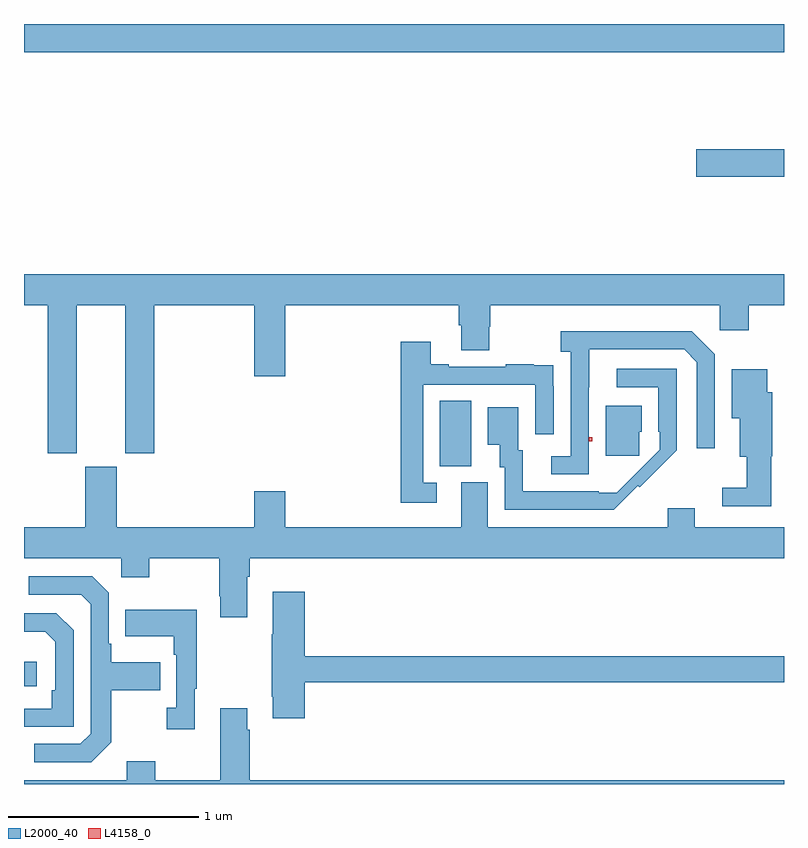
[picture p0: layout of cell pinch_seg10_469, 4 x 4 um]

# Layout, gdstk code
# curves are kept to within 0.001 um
import gdstk
lib = gdstk.Library(unit=1e-6, precision=1e-09)
def R(c, l, rs):  # rectangles x0, y0, x1, y1
    for r in rs: c.add(gdstk.rectangle(r[:2], r[2:], *l))
def P(c, l, *ps):  # polygons
    for p in ps: c.add(gdstk.Polygon(p, *l))
L2000_40 = (2000, 40)
L4158_0 = (4158, 0)

pinch_seg10_469 = lib.new_cell('pinch_seg10_469')
R(pinch_seg10_469, L2000_40, [(367.593,1287.654,367.66,1287.784), (369.782,1288.813,369.946,1289.156), (371.13,1290.335,371.593,1290.482), (367.593,1290.992,371.593,1291.14)])
P(pinch_seg10_469, L2000_40, [(367.87,1289.66),(368.126,1289.66),(368.126,1288.881),(368.279,1288.881),(368.279,1289.66),(368.804,1289.66),(368.804,1289.286),(368.968,1289.286),(368.968,1289.66),(369.881,1289.66),(369.881,1289.554),(369.893,1289.554),(369.893,1289.422),(370.041,1289.422),(370.041,1289.547),(370.046,1289.547),(370.046,1289.66),(371.256,1289.66),(371.256,1289.529),(371.408,1289.529),(371.408,1289.66),(371.593,1289.66),(371.593,1289.824),(367.593,1289.824),(367.593,1289.66),(367.718,1289.66),(367.718,1288.881),(367.87,1288.881)],
  [(370.566,1289.227),(370.567,1289.427),(371.067,1289.427),(371.133,1289.361),(371.133,1288.908),(371.229,1288.908),(371.229,1289.403),(371.108,1289.524),(370.419,1289.524),(370.419,1289.414),(370.47,1289.414),(370.47,1288.866),(370.368,1288.866),(370.368,1288.77),(370.566,1288.77)],
  [(369.766,1288.725),(369.693,1288.725),(369.693,1289.241),(370.284,1289.241),(370.284,1288.98),(370.38,1288.98),(370.38,1289.234),(370.379,1289.234),(370.379,1289.343),(370.277,1289.343),(370.277,1289.35),(370.129,1289.35),(370.129,1289.337),(369.829,1289.337),(369.829,1289.35),(369.733,1289.35),(369.733,1289.467),(369.577,1289.467),(369.577,1288.62),(369.766,1288.62)],
  [(370.824,1288.711),(370.834,1288.702),(371.028,1288.896),(371.028,1289.325),(370.713,1289.325),(370.713,1289.229),(370.932,1289.229),(370.932,1288.995),(370.938,1288.995),(370.938,1288.898),(370.714,1288.674),(370.617,1288.674),(370.617,1288.68),(370.219,1288.68),(370.219,1288.896),(370.195,1288.896),(370.195,1289.122),(370.034,1289.122),(370.034,1288.925),(370.097,1288.925),(370.097,1288.806),(370.122,1288.806),(370.122,1288.584),(370.697,1288.584)],
  [(371.525,1288.866),(371.531,1288.866),(371.531,1289.202),(371.506,1289.202),(371.506,1289.323),(371.318,1289.323),(371.318,1289.066),(371.36,1289.066),(371.36,1288.862),(371.397,1288.862),(371.397,1288.699),(371.268,1288.699),(371.268,1288.602),(371.525,1288.602)],
  [(370.832,1288.995),(370.843,1288.995),(370.843,1289.131),(370.655,1289.131),(370.655,1288.867),(370.832,1288.867)],
  [(368.767,1288.232),(368.78,1288.232),(368.78,1288.328),(371.593,1288.328),(371.593,1288.492),(371.122,1288.492),(371.122,1288.591),(370.982,1288.591),(370.982,1288.492),(370.033,1288.492),(370.033,1288.728),(369.893,1288.728),(369.893,1288.492),(368.968,1288.492),(368.968,1288.681),(368.804,1288.681),(368.804,1288.492),(368.08,1288.492),(368.08,1288.809),(367.916,1288.809),(367.916,1288.492),(367.593,1288.492),(367.593,1288.328),(368.106,1288.328),(368.106,1288.229),(368.253,1288.229),(368.253,1288.328),(368.62,1288.328),(368.62,1288.129),(368.627,1288.129),(368.627,1288.017),(368.767,1288.017)],
  [(368.053,1287.361),(368.053,1287.634),(368.309,1287.634),(368.309,1287.781),(368.053,1287.781),(368.053,1287.877),(368.04,1287.877),(368.04,1288.146),(367.953,1288.233),(367.617,1288.233),(367.617,1288.137),(367.893,1288.137),(367.944,1288.086),(367.944,1287.405),(367.89,1287.351),(367.647,1287.351),(367.647,1287.255),(367.947,1287.255)],
  [(369.071,1287.676),(371.593,1287.676),(371.593,1287.812),(369.071,1287.812),(369.071,1288.153),(368.903,1288.153),(368.903,1287.929),(368.896,1287.929),(368.896,1287.598),(368.903,1287.598),(368.903,1287.486),(369.071,1287.486)],
  [(368.491,1287.641),(368.503,1287.641),(368.503,1288.057),(368.125,1288.057),(368.125,1287.917),(368.382,1287.917),(368.382,1287.821),(368.394,1287.821),(368.394,1287.542),(368.343,1287.542),(368.343,1287.429),(368.491,1287.429)],
  [(367.854,1287.948),(367.764,1288.038),(367.593,1288.038),(367.593,1287.941),(367.705,1287.941),(367.758,1287.888),(367.758,1287.634),(367.738,1287.634),(367.738,1287.537),(367.593,1287.537),(367.593,1287.441),(367.854,1287.441)],
  [(371.593,1287.16),(368.78,1287.16),(368.78,1287.425),(368.767,1287.425),(368.767,1287.538),(368.627,1287.538),(368.627,1287.16),(368.283,1287.16),(368.283,1287.259),(368.135,1287.259),(368.135,1287.16),(367.593,1287.16),(367.593,1287.14),(371.593,1287.14)])
R(pinch_seg10_469, L4158_0, [(370.565,1288.944,370.585,1288.964)])

lib.write_gds('pinch_seg10_469.gds')
